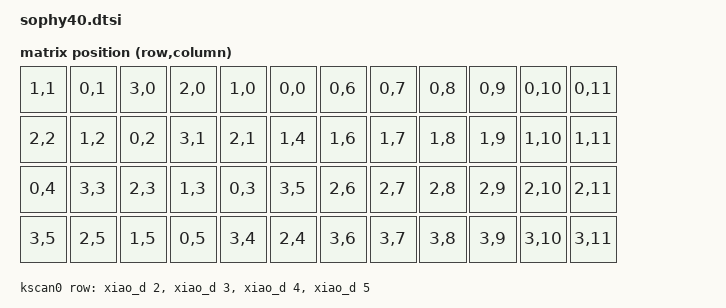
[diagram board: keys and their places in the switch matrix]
/*
 * Copyright (c) 2020 The ZMK Contributors
 *
 * SPDX-License-Identifier: MIT
 */

#include <dt-bindings/zmk/matrix_transform.h>

/ {
    chosen {
        zmk,kscan = &kscan0;
        zmk,matrix_transform = &default_transform;
    };

    default_transform: keymap_transform_0 {
        compatible = "zmk,matrix-transform";
        columns = <12>;
        rows = <4>;
// Matrix mapping based on Arduino test results:
// Physical layout → Row, Col
// ESC Q W E R T → R1C1 R0C1 R3C0 R2C0 R1C0 R0C0
// CTRL A S D F G → R2C2 R1C2 R0C2 R3C1 R2C1 R1C4
// SHFT Z X C V B → R0C4 R3C3 R2C3 R1C3 R0C3 R3C5
// TAB Win ALT CMD EN SPC → R3C5 R2C5 R1C5 R0C5 R3C4 R2C4
        map = <
RC(1,1) RC(0,1) RC(3,0) RC(2,0) RC(1,0) RC(0,0)  RC(0,6) RC(0,7) RC(0,8) RC(0,9) RC(0,10) RC(0,11)
RC(2,2) RC(1,2) RC(0,2) RC(3,1) RC(2,1) RC(1,4)  RC(1,6) RC(1,7) RC(1,8) RC(1,9) RC(1,10) RC(1,11)
RC(0,4) RC(3,3) RC(2,3) RC(1,3) RC(0,3) RC(3,5)  RC(2,6) RC(2,7) RC(2,8) RC(2,9) RC(2,10) RC(2,11)
        RC(3,5) RC(2,5) RC(1,5) RC(0,5) RC(3,4) RC(2,4)  RC(3,6) RC(3,7) RC(3,8) RC(3,9) RC(3,10) RC(3,11)
        >;
    };

    kscan0: kscan {
        compatible = "zmk,kscan-gpio-matrix";
        label = "KSCAN";

        diode-direction = "col2row";
        debounce-press-ms = <5>;
        debounce-release-ms = <5>;
        
        row-gpios
            = <&xiao_d 2 (GPIO_ACTIVE_HIGH | GPIO_PULL_DOWN)>  // Row0: D2/P0.28
            , <&xiao_d 3 (GPIO_ACTIVE_HIGH | GPIO_PULL_DOWN)>  // Row1: D3/P0.29
            , <&xiao_d 4 (GPIO_ACTIVE_HIGH | GPIO_PULL_DOWN)>  // Row2: D4/P0.04
            , <&xiao_d 5 (GPIO_ACTIVE_HIGH | GPIO_PULL_DOWN)>  // Row3: D5/P0.05
            ;
    };
};

&xiao_i2c {
    status = "disabled";
};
